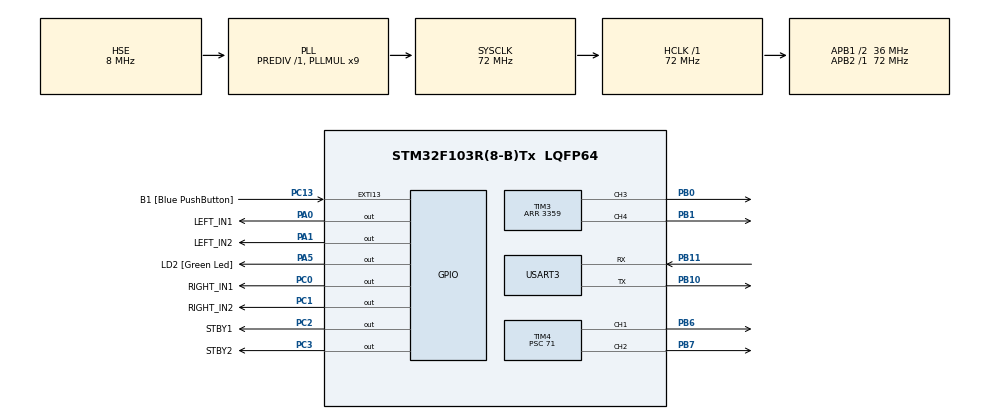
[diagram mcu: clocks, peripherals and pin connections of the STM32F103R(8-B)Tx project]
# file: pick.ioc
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Mcu.Family=STM32F1
Mcu.Name=STM32F103R(8-B)Tx
Mcu.Package=LQFP64
NVIC.EXTI15_10_IRQn=true\:0\:0\:false\:false\:true\:true\:true\:true
NVIC.PriorityGroup=NVIC_PRIORITYGROUP_4
NVIC.USART3_IRQn=true\:0\:0\:false\:false\:true\:true\:true\:true
PA0-WKUP.GPIO_Label=LEFT_IN1
PA0-WKUP.Signal=GPIO_Output
PA1.GPIO_Label=LEFT_IN2
PA1.Signal=GPIO_Output
PA13.GPIO_Label=TMS
PA13.Mode=Serial_Wire
PA13.Signal=SYS_JTMS-SWDIO
PA14.GPIO_Label=TCK
PA14.Mode=Serial_Wire
PA14.Signal=SYS_JTCK-SWCLK
PA2.GPIO_Label=USART_TX
PA2.GPIO_Mode=GPIO_MODE_AF_PP
PA2.GPIO_PuPd=GPIO_NOPULL
PA2.GPIO_Speed=GPIO_SPEED_FREQ_LOW
PA2.Signal=USART2_TX
PA3.GPIO_Label=USART_RX
PA3.GPIO_Mode=GPIO_MODE_AF_PP
PA3.GPIO_PuPd=GPIO_NOPULL
PA3.GPIO_Speed=GPIO_SPEED_FREQ_LOW
PA3.Signal=USART2_RX
PA5.GPIO_Label=LD2 [Green Led]
PA5.GPIO_ModeDefaultOutputPP=GPIO_MODE_OUTPUT_PP
PA5.GPIO_PuPd=GPIO_NOPULL
PA5.GPIO_Speed=GPIO_SPEED_FREQ_LOW
PA5.Signal=GPIO_Output
PB0.Signal=S_TIM3_CH3
PB1.Signal=S_TIM3_CH4
PB10.Mode=Asynchronous
PB10.Signal=USART3_TX
PB11.Mode=Asynchronous
PB11.Signal=USART3_RX
PB3.GPIO_Label=SWO
PB3.Signal=SYS_JTDO-TRACESWO
PB6.Signal=S_TIM4_CH1
PB7.Signal=S_TIM4_CH2
PC0.GPIO_Label=RIGHT_IN1
PC0.Signal=GPIO_Output
PC1.GPIO_Label=RIGHT_IN2
PC1.Signal=GPIO_Output
PC13-TAMPER-RTC.GPIO_Label=B1 [Blue PushButton]
PC13-TAMPER-RTC.GPIO_PuPd=GPIO_NOPULL
PC13-TAMPER-RTC.Signal=GPXTI13
PC14-OSC32_IN.Mode=LSE-External-Oscillator
PC14-OSC32_IN.Signal=RCC_OSC32_IN
PC15-OSC32_OUT.Mode=LSE-External-Oscillator
PC15-OSC32_OUT.Signal=RCC_OSC32_OUT
PC2.GPIO_Label=STBY1
PC2.Signal=GPIO_Output
PC3.GPIO_Label=STBY2
PC3.Signal=GPIO_Output
PD0-OSC_IN.Mode=HSE-External-Clock-Source
PD0-OSC_IN.Signal=RCC_OSC_IN
PD1-OSC_OUT.Mode=HSE-External-Clock-Source
PD1-OSC_OUT.Signal=RCC_OSC_OUT
ProjectManager.HeapSize=0x200
ProjectManager.StackSize=0x400
ProjectManager.TargetToolchain=STM32CubeIDE
RCC.AHBFreq_Value=72000000
RCC.APB1CLKDivider=RCC_HCLK_DIV2
RCC.APB1Freq_Value=36000000
RCC.APB1TimFreq_Value=72000000
RCC.APB2Freq_Value=72000000
RCC.APB2TimFreq_Value=72000000
RCC.HCLKFreq_Value=72000000
RCC.PLLMUL=RCC_PLL_MUL9
RCC.PLLSourceVirtual=RCC_PLLSOURCE_HSE
RCC.RTCClockSelection=RCC_RTCCLKSOURCE_LSE
RCC.SYSCLKFreq_VALUE=72000000
RCC.SYSCLKSource=RCC_SYSCLKSOURCE_PLLCLK
RCC.USBFreq_Value=72000000
SH.S_TIM3_CH3.0=TIM3_CH3,PWM Generation3 CH3
SH.S_TIM3_CH4.0=TIM3_CH4,PWM Generation4 CH4
SH.S_TIM4_CH1.0=TIM4_CH1,PWM Generation1 CH1
SH.S_TIM4_CH2.0=TIM4_CH2,PWM Generation2 CH2
TIM3.Channel-PWM\ Generation3\ CH3=TIM_CHANNEL_3
TIM3.Channel-PWM\ Generation4\ CH4=TIM_CHANNEL_4
TIM3.Period=3359
TIM4.Channel-PWM\ Generation1\ CH1=TIM_CHANNEL_1
TIM4.Channel-PWM\ Generation2\ CH2=TIM_CHANNEL_2
TIM4.Prescaler=71
USART3.VirtualMode=VM_ASYNC
board=NUCLEO-F103RB

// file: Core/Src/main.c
/* USER CODE BEGIN Header */
/**
  ******************************************************************************
  * @file           : main.c
  * @brief          : Main program body
  ******************************************************************************
  * @attention
  *
  * Copyright (c) 2025 STMicroelectronics.
  * All rights reserved.
  *
  * This software is licensed under terms that can be found in the LICENSE file
  * in the root directory of this software component.
  * If no LICENSE file comes with this software, it is provided AS-IS.
  *
  ******************************************************************************
  */
/* USER CODE END Header */
#include "main.h"
#include "tim.h"
#include "usart.h"
#include "gpio.h"

void SystemClock_Config(void);

/* USER CODE BEGIN 0 */
uint8_t rx_buf[7];                   // 수신 버퍼
int16_t left_speed, right_speed;     // 모터 속도
#define PWM_ARR 3359

/* USER CODE END 0 */

int main(void)
{

  /* MCU Configuration--------------------------------------------------------*/

  /* Reset of all peripherals, Initializes the Flash interface and the Systick. */
  HAL_Init();

  /* Configure the system clock */
  SystemClock_Config();

  /* Initialize all configured peripherals */
  MX_GPIO_Init();
  MX_TIM3_Init();
  MX_USART3_UART_Init();
  MX_TIM4_Init();
  /* USER CODE BEGIN 2 */
  HAL_TIM_PWM_Start(&htim3, TIM_CHANNEL_3);  // PWM 시작 (왼쪽 모터)

  HAL_TIM_PWM_Start(&htim3, TIM_CHANNEL_4);  // PWM 시작 (오른쪽 모터)

  HAL_TIM_PWM_Start(&htim4, TIM_CHANNEL_1);  // PWM 시작 (왼쪽 서보 모터)
  HAL_TIM_PWM_Start(&htim4, TIM_CHANNEL_2);  // PWM 시작 (왼쪽 서보 모터)

  HAL_UART_Receive_IT(&huart3, rx_buf, 7);  // 7바이트 데이터를 수신하기 위해 인터럽트 설정
  HAL_GPIO_WritePin(STBY1_GPIO_Port, STBY1_Pin, GPIO_PIN_SET);
  HAL_GPIO_WritePin(STBY2_GPIO_Port, STBY2_Pin, GPIO_PIN_SET);
  /* USER CODE END 2 */

  /* Infinite loop */
  while (1)
  {

  }
}

void SystemClock_Config(void)
{
  RCC_OscInitTypeDef RCC_OscInitStruct = {0};
  RCC_ClkInitTypeDef RCC_ClkInitStruct = {0};

  /** Initializes the RCC Oscillators according to the specified parameters
  * in the RCC_OscInitTypeDef structure.
  */
  RCC_OscInitStruct.OscillatorType = RCC_OSCILLATORTYPE_HSE;
  RCC_OscInitStruct.HSEState = RCC_HSE_BYPASS;
  RCC_OscInitStruct.HSEPredivValue = RCC_HSE_PREDIV_DIV1;
  RCC_OscInitStruct.HSIState = RCC_HSI_ON;
  RCC_OscInitStruct.PLL.PLLState = RCC_PLL_ON;
  RCC_OscInitStruct.PLL.PLLSource = RCC_PLLSOURCE_HSE;
  RCC_OscInitStruct.PLL.PLLMUL = RCC_PLL_MUL9;
  if (HAL_RCC_OscConfig(&RCC_OscInitStruct) != HAL_OK)
  {
    Error_Handler();
  }

  /** Initializes the CPU, AHB and APB buses clocks
  */
  RCC_ClkInitStruct.ClockType = RCC_CLOCKTYPE_HCLK|RCC_CLOCKTYPE_SYSCLK
                              |RCC_CLOCKTYPE_PCLK1|RCC_CLOCKTYPE_PCLK2;
  RCC_ClkInitStruct.SYSCLKSource = RCC_SYSCLKSOURCE_PLLCLK;
  RCC_ClkInitStruct.AHBCLKDivider = RCC_SYSCLK_DIV1;
  RCC_ClkInitStruct.APB1CLKDivider = RCC_HCLK_DIV2;
  RCC_ClkInitStruct.APB2CLKDivider = RCC_HCLK_DIV1;

  if (HAL_RCC_ClockConfig(&RCC_ClkInitStruct, FLASH_LATENCY_2) != HAL_OK)
  {
    Error_Handler();
  }
}

/* USER CODE BEGIN 4 */
void HAL_UART_RxCpltCallback(UART_HandleTypeDef *huart)
{
    if (huart->Instance == USART3)  // USART3에서 데이터 수신 완료 확인
    {
        // 데이터 패킷 헤더 확인 (0xAA)
        if (rx_buf[0] == 0xAA) {
            uint8_t id = rx_buf[1];  // 패킷 ID

            // 모터 제어 패킷 (id == 0x01)
            if (id == 0x01) {
                HAL_UART_Transmit(&huart3, rx_buf, 7, HAL_MAX_DELAY);  // 수신한 데이터를 그대로 송신
                // 리틀 엔디안 방식으로 속도 추출
                left_speed  = (int16_t)(rx_buf[2] | (rx_buf[3] << 8));
                right_speed = (int16_t)(rx_buf[4] | (rx_buf[5] << 8));

                // 체크섬 확인
                uint8_t checksum = rx_buf[6];
                uint8_t calc = id ^ rx_buf[2] ^ rx_buf[3] ^ rx_buf[4] ^ rx_buf[5];

                // 체크섬이 일치하면 모터 제어
                if (checksum == calc) {
                    /* ===== 왼쪽 모터 제어 ===== */
                    if (left_speed >= 0) {
                        HAL_GPIO_WritePin(LEFT_IN1_GPIO_Port, LEFT_IN1_Pin, GPIO_PIN_SET);
                        HAL_GPIO_WritePin(LEFT_IN2_GPIO_Port, LEFT_IN2_Pin, GPIO_PIN_RESET);
                        TIM3->CCR3 = ((int32_t)left_speed * PWM_ARR) / 32000;  // 왼쪽 모터 PWM 속도 설정
                    } else {
                        HAL_GPIO_WritePin(LEFT_IN1_GPIO_Port, LEFT_IN1_Pin, GPIO_PIN_RESET);
                        HAL_GPIO_WritePin(LEFT_IN2_GPIO_Port, LEFT_IN2_Pin, GPIO_PIN_SET);
                        TIM3->CCR3 = ((int32_t)(-left_speed) * PWM_ARR) / 32000;  // 왼쪽 모터 반대 방향 설정
                    }

                    /* ===== 오른쪽 모터 제어 ===== */
                    if (right_speed >= 0) {
                        HAL_GPIO_WritePin(RIGHT_IN1_GPIO_Port, RIGHT_IN1_Pin, GPIO_PIN_SET);
                        HAL_GPIO_WritePin(RIGHT_IN2_GPIO_Port, RIGHT_IN2_Pin, GPIO_PIN_RESET);
                        TIM3->CCR4 = ((int32_t)right_speed * PWM_ARR) / 32000;  // 오른쪽 모터 PWM 속도 설정
                    } else {
                        HAL_GPIO_WritePin(RIGHT_IN1_GPIO_Port, RIGHT_IN1_Pin, GPIO_PIN_RESET);
                        HAL_GPIO_WritePin(RIGHT_IN2_GPIO_Port, RIGHT_IN2_Pin, GPIO_PIN_SET);
                        TIM3->CCR4 = ((int32_t)(-right_speed) * PWM_ARR) / 32000;  // 오른쪽 모터 반대 방향 설정
                    }
                }
            }
            else if (id == 0x02) {
                HAL_UART_Transmit(&huart3, rx_buf, 7, HAL_MAX_DELAY);  // 수신한 데이터를 그대로 송신

				TIM3->CCR3=0;
				TIM3->CCR4=0;

				TIM4->CCR2 = 1500; // 오른쪽 서보 모터 피는 것
				TIM4->CCR1 = 1500; // 왼쪽 서보 모터 피는 것

				TIM4->CCR1 = 2500; // 왼쪽 서보 모터 접는것
				TIM4->CCR2 = 550; // 오른쪽 서보 모터 접는것

                        }
        }
    }

    /* 다음 패킷 수신 준비 */
    HAL_UART_Receive_IT(&huart3, rx_buf, 7);  // 계속해서 데이터를 비동기적으로 수신
}
/* USER CODE END 4 */

void Error_Handler(void)
{
  __disable_irq();
  while (1)
  {
  }
}
